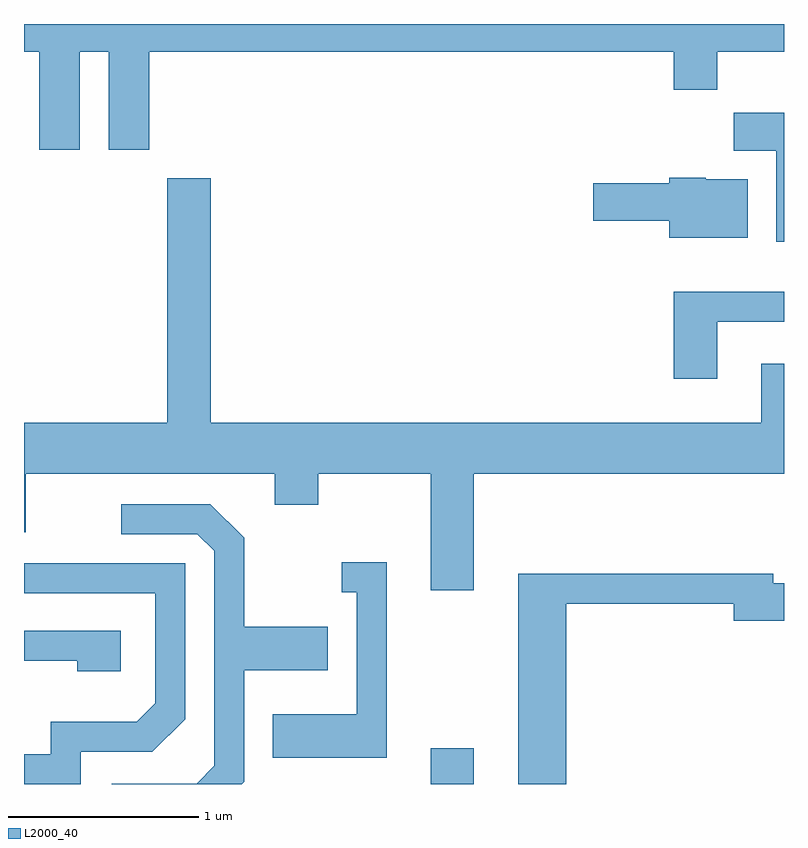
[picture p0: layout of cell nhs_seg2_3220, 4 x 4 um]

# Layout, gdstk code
import gdstk
lib = gdstk.Library(unit=1e-6, precision=1e-09)
def R(c, l, rs):  # rectangles x0, y0, x1, y1
    for r in rs: c.add(gdstk.rectangle(r[:2], r[2:], *l))
def P(c, l, *ps):  # polygons
    for p in ps: c.add(gdstk.Polygon(p, *l))
L2000_40 = (2000, 40)

nhs_seg2_3220 = lib.new_cell('nhs_seg2_3220')
R(nhs_seg2_3220, L2000_40, [(281.751,1037.802,281.979,1037.989)])
P(nhs_seg2_3220, L2000_40, [(279.904,1041.656),(280.056,1041.656),(280.056,1041.141),(280.269,1041.141),(280.269,1041.656),(283.031,1041.656),(283.031,1041.456),(283.259,1041.456),(283.259,1041.656),(283.611,1041.656),(283.611,1041.802),(279.611,1041.802),(279.611,1041.656),(279.691,1041.656),(279.691,1041.141),(279.904,1041.141)],
  [(283.611,1041.334),(283.346,1041.334),(283.346,1041.136),(283.571,1041.136),(283.571,1040.656),(283.611,1040.656)],
  [(283.419,1040.984),(283.2,1040.984),(283.2,1040.994),(283.006,1040.994),(283.006,1040.964),(282.606,1040.964),(282.606,1040.766),(283.006,1040.766),(283.006,1040.676),(283.419,1040.676)],
  [(281.979,1039.436),(283.611,1039.436),(283.611,1040.014),(283.491,1040.014),(283.491,1039.704),(280.594,1039.704),(280.594,1040.989),(280.366,1040.989),(280.366,1039.704),(279.611,1039.704),(279.611,1039.126),(279.619,1039.126),(279.619,1039.436),(280.931,1039.436),(280.931,1039.271),(281.159,1039.271),(281.159,1039.436),(281.751,1039.436),(281.751,1038.821),(281.979,1038.821)],
  [(283.259,1040.236),(283.611,1040.236),(283.611,1040.394),(283.031,1040.394),(283.031,1039.936),(283.259,1039.936)],
  [(280.769,1037.814),(280.769,1038.401),(281.209,1038.401),(281.209,1038.629),(280.769,1038.629),(280.769,1039.097),(280.592,1039.274),(280.123,1039.274),(280.123,1039.116),(280.524,1039.116),(280.611,1039.029),(280.611,1037.897),(280.519,1037.804),(280.073,1037.804),(280.073,1037.802),(280.757,1037.802)],
  [(281.519,1038.969),(281.283,1038.969),(281.283,1038.811),(281.361,1038.811),(281.361,1038.169),(280.921,1038.169),(280.921,1037.941),(281.519,1037.941)],
  [(279.909,1037.971),(280.287,1037.971),(280.459,1038.144),(280.459,1038.964),(279.611,1038.964),(279.611,1038.806),(280.301,1038.806),(280.301,1038.227),(280.204,1038.129),(279.751,1038.129),(279.751,1037.959),(279.611,1037.959),(279.611,1037.802),(279.909,1037.802)],
  [(282.464,1038.751),(283.346,1038.751),(283.346,1038.661),(283.611,1038.661),(283.611,1038.859),(283.554,1038.859),(283.554,1038.909),(282.211,1038.909),(282.211,1037.802),(282.464,1037.802)],
  [(280.119,1038.609),(279.611,1038.609),(279.611,1038.451),(279.891,1038.451),(279.891,1038.396),(280.119,1038.396)])

lib.write_gds('nhs_seg2_3220.gds')
